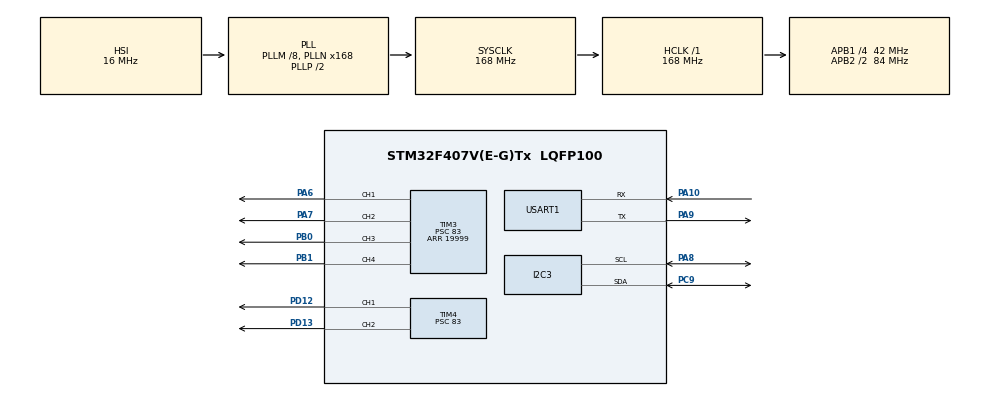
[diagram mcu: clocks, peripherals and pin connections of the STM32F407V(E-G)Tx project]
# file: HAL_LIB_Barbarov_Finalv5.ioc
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Mcu.Family=STM32F4
Mcu.Name=STM32F407V(E-G)Tx
Mcu.Package=LQFP100
NVIC.PriorityGroup=NVIC_PRIORITYGROUP_4
NVIC.USART1_IRQn=true\:0\:0\:false\:false\:true\:true\:true
PA10.Mode=Asynchronous
PA10.Signal=USART1_RX
PA6.Signal=S_TIM3_CH1
PA7.Signal=S_TIM3_CH2
PA8.Mode=I2C
PA8.Signal=I2C3_SCL
PA9.Mode=Asynchronous
PA9.Signal=USART1_TX
PB0.Signal=S_TIM3_CH3
PB1.Signal=S_TIM3_CH4
PC9.Mode=I2C
PC9.Signal=I2C3_SDA
PD12.Signal=S_TIM4_CH1
PD13.Signal=S_TIM4_CH2
ProjectManager.HeapSize=0x200
ProjectManager.StackSize=0x400
ProjectManager.TargetToolchain=STM32CubeIDE
RCC.48MHZClocksFreq_Value=84000000
RCC.AHBFreq_Value=168000000
RCC.APB1CLKDivider=RCC_HCLK_DIV4
RCC.APB1Freq_Value=42000000
RCC.APB1TimFreq_Value=84000000
RCC.APB2CLKDivider=RCC_HCLK_DIV2
RCC.APB2Freq_Value=84000000
RCC.APB2TimFreq_Value=168000000
RCC.CortexFreq_Value=168000000
RCC.HCLKFreq_Value=168000000
RCC.HSE_VALUE=25000000
RCC.HSI_VALUE=16000000
RCC.LSE_VALUE=32768
RCC.PLLM=8
RCC.PLLN=168
RCC.SYSCLKFreq_VALUE=168000000
RCC.SYSCLKSource=RCC_SYSCLKSOURCE_PLLCLK
RCC.VCOOutputFreq_Value=336000000
SH.S_TIM3_CH1.0=TIM3_CH1,PWM Generation1 CH1
SH.S_TIM3_CH2.0=TIM3_CH2,PWM Generation2 CH2
SH.S_TIM3_CH3.0=TIM3_CH3,PWM Generation3 CH3
SH.S_TIM3_CH4.0=TIM3_CH4,PWM Generation4 CH4
SH.S_TIM4_CH1.0=TIM4_CH1,PWM Generation1 CH1
SH.S_TIM4_CH2.0=TIM4_CH2,PWM Generation2 CH2
TIM3.Channel-PWM\ Generation1\ CH1=TIM_CHANNEL_1
TIM3.Channel-PWM\ Generation2\ CH2=TIM_CHANNEL_2
TIM3.Channel-PWM\ Generation3\ CH3=TIM_CHANNEL_3
TIM3.Channel-PWM\ Generation4\ CH4=TIM_CHANNEL_4
TIM3.Period=19999
TIM3.Prescaler=83
TIM4.Channel-PWM\ Generation1\ CH1=TIM_CHANNEL_1
TIM4.Channel-PWM\ Generation2\ CH2=TIM_CHANNEL_2
TIM4.Period=19999
TIM4.Prescaler=83
USART1.VirtualMode=VM_ASYNC
board=custom

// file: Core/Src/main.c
/* USER CODE BEGIN Header */
/**
  ******************************************************************************
  * @file           : main.c
  * @brief          : Main program body
  ******************************************************************************
  * @attention
  *
  * Copyright (c) 2022 STMicroelectronics.
  * All rights reserved.
  *
  * This software is licensed under terms that can be found in the LICENSE file
  * in the root directory of this software component.
  * If no LICENSE file comes with this software, it is provided AS-IS.
  *
  ******************************************************************************
  */
/* USER CODE END Header */
#include "main.h"

/* USER CODE BEGIN Includes */
#include "stdlib.h"
#include "string.h"
/* USER CODE END Includes */

I2C_HandleTypeDef hi2c3;

TIM_HandleTypeDef htim3;
TIM_HandleTypeDef htim4;

UART_HandleTypeDef huart1;

/* USER CODE BEGIN PV */
char gelen[8];
int degisim,donusum,degisen = 1500;
/* USER CODE END PV */

void SystemClock_Config(void);
static void MX_GPIO_Init(void);
static void MX_I2C3_Init(void);
static void MX_TIM3_Init(void);
static void MX_TIM4_Init(void);
static void MX_USART1_UART_Init(void);

/* USER CODE BEGIN 0 */
void degis(){
	degisim = atoi(gelen);
	donusum = 1500;
	HAL_Delay(1000);
}
void dur(){
	degisim = 1500;
	__HAL_TIM_SET_COMPARE(&htim3, TIM_CHANNEL_1, 1500);
	__HAL_TIM_SET_COMPARE(&htim3, TIM_CHANNEL_2, 1500);
	__HAL_TIM_SET_COMPARE(&htim3, TIM_CHANNEL_3, 1500);
	__HAL_TIM_SET_COMPARE(&htim3, TIM_CHANNEL_4, 1500);
	__HAL_TIM_SET_COMPARE(&htim4, TIM_CHANNEL_1, 1500);
	__HAL_TIM_SET_COMPARE(&htim4, TIM_CHANNEL_2, 1500);
}
void ilr(int degisim){
	donusum = atoi(gelen);
	__HAL_TIM_SET_COMPARE(&htim3, TIM_CHANNEL_1, 1500-abs(1500-donusum));
	__HAL_TIM_SET_COMPARE(&htim3, TIM_CHANNEL_2, donusum);
	__HAL_TIM_SET_COMPARE(&htim3, TIM_CHANNEL_3, 1500-abs(1500-donusum));
	__HAL_TIM_SET_COMPARE(&htim3, TIM_CHANNEL_4, donusum);
	__HAL_TIM_SET_COMPARE(&htim4, TIM_CHANNEL_1, degisim);
	__HAL_TIM_SET_COMPARE(&htim4, TIM_CHANNEL_2, degisim);
}
void ger(int degisim){
		donusum = atoi(gelen);
		__HAL_TIM_SET_COMPARE(&htim3, TIM_CHANNEL_1, donusum);
		__HAL_TIM_SET_COMPARE(&htim3, TIM_CHANNEL_2, 1500-abs(1500-donusum));
		__HAL_TIM_SET_COMPARE(&htim3, TIM_CHANNEL_3, donusum);
		__HAL_TIM_SET_COMPARE(&htim3, TIM_CHANNEL_4, 1500-abs(1500-donusum));
		__HAL_TIM_SET_COMPARE(&htim4, TIM_CHANNEL_1, degisim);
		__HAL_TIM_SET_COMPARE(&htim4, TIM_CHANNEL_2, degisim);
}
void sag(int degisim){
	donusum = atoi(gelen);
	__HAL_TIM_SET_COMPARE(&htim3, TIM_CHANNEL_1, donusum);
	__HAL_TIM_SET_COMPARE(&htim3, TIM_CHANNEL_2, donusum);
	__HAL_TIM_SET_COMPARE(&htim3, TIM_CHANNEL_3, 1500-abs(1500-donusum));
	__HAL_TIM_SET_COMPARE(&htim3, TIM_CHANNEL_4, 1500-abs(1500-donusum));
	__HAL_TIM_SET_COMPARE(&htim4, TIM_CHANNEL_1, degisim);
	__HAL_TIM_SET_COMPARE(&htim4, TIM_CHANNEL_2, degisim);
}
void sol(int degisim){
	donusum = atoi(gelen);
	__HAL_TIM_SET_COMPARE(&htim3, TIM_CHANNEL_1, 1500-abs(1500-donusum));
	__HAL_TIM_SET_COMPARE(&htim3, TIM_CHANNEL_2, 1500-abs(1500-donusum));
	__HAL_TIM_SET_COMPARE(&htim3, TIM_CHANNEL_3, donusum);
	__HAL_TIM_SET_COMPARE(&htim3, TIM_CHANNEL_4, donusum);
	__HAL_TIM_SET_COMPARE(&htim4, TIM_CHANNEL_1, degisim);
	__HAL_TIM_SET_COMPARE(&htim4, TIM_CHANNEL_2, degisim);
}
/* USER CODE END 0 */

int main(void)
{

  /* MCU Configuration--------------------------------------------------------*/

  /* Reset of all peripherals, Initializes the Flash interface and the Systick. */
  HAL_Init();

  /* Configure the system clock */
  SystemClock_Config();

  /* Initialize all configured peripherals */
  MX_GPIO_Init();
  MX_I2C3_Init();
  MX_TIM3_Init();
  MX_TIM4_Init();
  MX_USART1_UART_Init();
  /* USER CODE BEGIN 2 */
  HAL_TIM_PWM_Start(&htim3, TIM_CHANNEL_1);
  HAL_TIM_PWM_Start(&htim3, TIM_CHANNEL_2);
  HAL_TIM_PWM_Start(&htim3, TIM_CHANNEL_3);
  HAL_TIM_PWM_Start(&htim3, TIM_CHANNEL_4);
  HAL_TIM_PWM_Start(&htim4, TIM_CHANNEL_1);
  HAL_TIM_PWM_Start(&htim4, TIM_CHANNEL_2);
  __HAL_TIM_SET_COMPARE(&htim3, TIM_CHANNEL_1, 1500);
  __HAL_TIM_SET_COMPARE(&htim3, TIM_CHANNEL_2, 1500);
  __HAL_TIM_SET_COMPARE(&htim3, TIM_CHANNEL_3, 1500);
  __HAL_TIM_SET_COMPARE(&htim3, TIM_CHANNEL_4, 1500);
  __HAL_TIM_SET_COMPARE(&htim4, TIM_CHANNEL_1, 1500);
  __HAL_TIM_SET_COMPARE(&htim4, TIM_CHANNEL_2, 1500);
  HAL_Delay(7000);
  /* USER CODE END 2 */

  /* Infinite loop */
  while (1)
  {

    /* USER CODE BEGIN 3 */
	  HAL_UART_Receive_IT(&huart1, (uint8_t *)gelen, 8);

	  if(gelen[5]=='d' && gelen[6]=='e' && gelen[7]=='g'){
		  degis();
	  }
	  else if(gelen[5]=='d' && gelen[6]=='u' && gelen[7]=='r'){
		  dur();
	  }
	  else if(gelen[5]=='i' && gelen[6]=='l' && gelen[7]=='r'){
		  ilr(degisim);
	  }
	  else if(gelen[5]=='g' && gelen[6]=='e' && gelen[7]=='r'){
		  ger(degisim);
	  }
	  else if(gelen[5]=='s' && gelen[6]=='a' && gelen[7]=='g'){
		  sag(degisim);
	  }
	  else if(gelen[5]=='s' && gelen[6]=='o' && gelen[7]=='l'){
		  sol(degisim);
	  }
  }
  /* USER CODE END 3 */
}

void SystemClock_Config(void)
{
  RCC_OscInitTypeDef RCC_OscInitStruct = {0};
  RCC_ClkInitTypeDef RCC_ClkInitStruct = {0};

  /** Configure the main internal regulator output voltage
  */
  __HAL_RCC_PWR_CLK_ENABLE();
  __HAL_PWR_VOLTAGESCALING_CONFIG(PWR_REGULATOR_VOLTAGE_SCALE1);
  /** Initializes the RCC Oscillators according to the specified parameters
  * in the RCC_OscInitTypeDef structure.
  */
  RCC_OscInitStruct.OscillatorType = RCC_OSCILLATORTYPE_HSI;
  RCC_OscInitStruct.HSIState = RCC_HSI_ON;
  RCC_OscInitStruct.HSICalibrationValue = RCC_HSICALIBRATION_DEFAULT;
  RCC_OscInitStruct.PLL.PLLState = RCC_PLL_ON;
  RCC_OscInitStruct.PLL.PLLSource = RCC_PLLSOURCE_HSI;
  RCC_OscInitStruct.PLL.PLLM = 8;
  RCC_OscInitStruct.PLL.PLLN = 168;
  RCC_OscInitStruct.PLL.PLLP = RCC_PLLP_DIV2;
  RCC_OscInitStruct.PLL.PLLQ = 4;
  if (HAL_RCC_OscConfig(&RCC_OscInitStruct) != HAL_OK)
  {
    Error_Handler();
  }
  /** Initializes the CPU, AHB and APB buses clocks
  */
  RCC_ClkInitStruct.ClockType = RCC_CLOCKTYPE_HCLK|RCC_CLOCKTYPE_SYSCLK
                              |RCC_CLOCKTYPE_PCLK1|RCC_CLOCKTYPE_PCLK2;
  RCC_ClkInitStruct.SYSCLKSource = RCC_SYSCLKSOURCE_PLLCLK;
  RCC_ClkInitStruct.AHBCLKDivider = RCC_SYSCLK_DIV1;
  RCC_ClkInitStruct.APB1CLKDivider = RCC_HCLK_DIV4;
  RCC_ClkInitStruct.APB2CLKDivider = RCC_HCLK_DIV2;

  if (HAL_RCC_ClockConfig(&RCC_ClkInitStruct, FLASH_LATENCY_5) != HAL_OK)
  {
    Error_Handler();
  }
}

static void MX_I2C3_Init(void)
{

  hi2c3.Instance = I2C3;
  hi2c3.Init.ClockSpeed = 100000;
  hi2c3.Init.DutyCycle = I2C_DUTYCYCLE_2;
  hi2c3.Init.OwnAddress1 = 0;
  hi2c3.Init.AddressingMode = I2C_ADDRESSINGMODE_7BIT;
  hi2c3.Init.DualAddressMode = I2C_DUALADDRESS_DISABLE;
  hi2c3.Init.OwnAddress2 = 0;
  hi2c3.Init.GeneralCallMode = I2C_GENERALCALL_DISABLE;
  hi2c3.Init.NoStretchMode = I2C_NOSTRETCH_DISABLE;
  if (HAL_I2C_Init(&hi2c3) != HAL_OK)
  {
    Error_Handler();
  }

}

static void MX_TIM3_Init(void)
{

  TIM_MasterConfigTypeDef sMasterConfig = {0};
  TIM_OC_InitTypeDef sConfigOC = {0};

  htim3.Instance = TIM3;
  htim3.Init.Prescaler = 83;
  htim3.Init.CounterMode = TIM_COUNTERMODE_UP;
  htim3.Init.Period = 19999;
  htim3.Init.ClockDivision = TIM_CLOCKDIVISION_DIV1;
  htim3.Init.AutoReloadPreload = TIM_AUTORELOAD_PRELOAD_DISABLE;
  if (HAL_TIM_PWM_Init(&htim3) != HAL_OK)
  {
    Error_Handler();
  }
  sMasterConfig.MasterOutputTrigger = TIM_TRGO_RESET;
  sMasterConfig.MasterSlaveMode = TIM_MASTERSLAVEMODE_DISABLE;
  if (HAL_TIMEx_MasterConfigSynchronization(&htim3, &sMasterConfig) != HAL_OK)
  {
    Error_Handler();
  }
  sConfigOC.OCMode = TIM_OCMODE_PWM1;
  sConfigOC.Pulse = 0;
  sConfigOC.OCPolarity = TIM_OCPOLARITY_HIGH;
  sConfigOC.OCFastMode = TIM_OCFAST_DISABLE;
  if (HAL_TIM_PWM_ConfigChannel(&htim3, &sConfigOC, TIM_CHANNEL_1) != HAL_OK)
  {
    Error_Handler();
  }
  if (HAL_TIM_PWM_ConfigChannel(&htim3, &sConfigOC, TIM_CHANNEL_2) != HAL_OK)
  {
    Error_Handler();
  }
  if (HAL_TIM_PWM_ConfigChannel(&htim3, &sConfigOC, TIM_CHANNEL_3) != HAL_OK)
  {
    Error_Handler();
  }
  if (HAL_TIM_PWM_ConfigChannel(&htim3, &sConfigOC, TIM_CHANNEL_4) != HAL_OK)
  {
    Error_Handler();
  }
  HAL_TIM_MspPostInit(&htim3);

}

static void MX_TIM4_Init(void)
{

  TIM_MasterConfigTypeDef sMasterConfig = {0};
  TIM_OC_InitTypeDef sConfigOC = {0};

  htim4.Instance = TIM4;
  htim4.Init.Prescaler = 83;
  htim4.Init.CounterMode = TIM_COUNTERMODE_UP;
  htim4.Init.Period = 19999;
  htim4.Init.ClockDivision = TIM_CLOCKDIVISION_DIV1;
  htim4.Init.AutoReloadPreload = TIM_AUTORELOAD_PRELOAD_DISABLE;
  if (HAL_TIM_PWM_Init(&htim4) != HAL_OK)
  {
    Error_Handler();
  }
  sMasterConfig.MasterOutputTrigger = TIM_TRGO_RESET;
  sMasterConfig.MasterSlaveMode = TIM_MASTERSLAVEMODE_DISABLE;
  if (HAL_TIMEx_MasterConfigSynchronization(&htim4, &sMasterConfig) != HAL_OK)
  {
    Error_Handler();
  }
  sConfigOC.OCMode = TIM_OCMODE_PWM1;
  sConfigOC.Pulse = 0;
  sConfigOC.OCPolarity = TIM_OCPOLARITY_HIGH;
  sConfigOC.OCFastMode = TIM_OCFAST_DISABLE;
  if (HAL_TIM_PWM_ConfigChannel(&htim4, &sConfigOC, TIM_CHANNEL_1) != HAL_OK)
  {
    Error_Handler();
  }
  if (HAL_TIM_PWM_ConfigChannel(&htim4, &sConfigOC, TIM_CHANNEL_2) != HAL_OK)
  {
    Error_Handler();
  }
  HAL_TIM_MspPostInit(&htim4);

}

static void MX_USART1_UART_Init(void)
{

  huart1.Instance = USART1;
  huart1.Init.BaudRate = 115200;
  huart1.Init.WordLength = UART_WORDLENGTH_8B;
  huart1.Init.StopBits = UART_STOPBITS_1;
  huart1.Init.Parity = UART_PARITY_NONE;
  huart1.Init.Mode = UART_MODE_TX_RX;
  huart1.Init.HwFlowCtl = UART_HWCONTROL_NONE;
  huart1.Init.OverSampling = UART_OVERSAMPLING_16;
  if (HAL_UART_Init(&huart1) != HAL_OK)
  {
    Error_Handler();
  }

}

static void MX_GPIO_Init(void)
{

  /* GPIO Ports Clock Enable */
  __HAL_RCC_GPIOA_CLK_ENABLE();
  __HAL_RCC_GPIOB_CLK_ENABLE();
  __HAL_RCC_GPIOD_CLK_ENABLE();
  __HAL_RCC_GPIOC_CLK_ENABLE();

}

void Error_Handler(void)
{
  __disable_irq();
  while (1)
  {
  }
}
